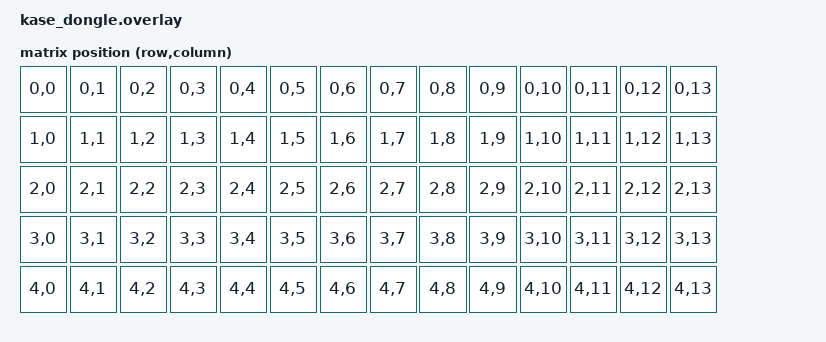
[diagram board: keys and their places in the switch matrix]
/*
 * KaSe dongle (USB central) overlay
 *
 * No physical keys — receives all key events from both halves via ESB.
 * Outputs USB HID to host computer.
 *
 * Board: nRF52840 Dongle (nrf52840dongle/nrf52840)
 */

#include <dt-bindings/zmk/matrix_transform.h>
#include "kase_esb_addr.dtsi"
#include "kase_physical_layout.dtsi"

/* CDC ACM UART for ZMK Studio RPC */
&zephyr_udc0 {
    studio_cdc_acm_uart: studio_cdc_acm_uart {
        compatible = "zephyr,cdc-acm-uart";
    };
};

/ {
    chosen {
        zmk,kscan = &mock_kscan;
        zmk,physical-layout = &kase_layout;
        zmk,studio-rpc-uart = &studio_cdc_acm_uart;
    };

    default_transform: keymap_transform_0 {
        compatible = "zmk,matrix-transform";
        columns = <14>;
        rows = <5>;
        map = <
RC(0,0) RC(0,1) RC(0,2) RC(0,3) RC(0,4) RC(0,5) RC(0,6)    RC(0,7) RC(0,8) RC(0,9) RC(0,10) RC(0,11) RC(0,12) RC(0,13)
RC(1,0) RC(1,1) RC(1,2) RC(1,3) RC(1,4) RC(1,5) RC(1,6)    RC(1,7) RC(1,8) RC(1,9) RC(1,10) RC(1,11) RC(1,12) RC(1,13)
RC(2,0) RC(2,1) RC(2,2) RC(2,3) RC(2,4) RC(2,5) RC(2,6)    RC(2,7) RC(2,8) RC(2,9) RC(2,10) RC(2,11) RC(2,12) RC(2,13)
RC(3,0) RC(3,1) RC(3,2) RC(3,3) RC(3,4) RC(3,5) RC(3,6)    RC(3,7) RC(3,8) RC(3,9) RC(3,10) RC(3,11) RC(3,12) RC(3,13)
RC(4,0) RC(4,1) RC(4,2) RC(4,3) RC(4,4) RC(4,5) RC(4,6)    RC(4,7) RC(4,8) RC(4,9) RC(4,10) RC(4,11) RC(4,12) RC(4,13)
        >;
    };

    mock_kscan: mock_kscan_0 {
        compatible = "zmk,kscan-mock";
        columns = <0>;
        rows = <0>;
        events = <0>;
    };
};
